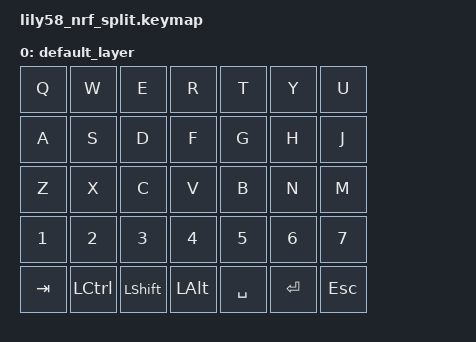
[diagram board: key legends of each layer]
/ {
    keymap {
        compatible = "zmk,keymap";

        default_layer {
            bindings = <
                &kp Q &kp W &kp E &kp R &kp T &kp Y &kp U
                &kp A &kp S &kp D &kp F &kp G &kp H &kp J
                &kp Z &kp X &kp C &kp V &kp B &kp N &kp M
                &kp 1 &kp 2 &kp 3 &kp 4 &kp 5 &kp 6 &kp 7
                &kp TAB &kp LCTRL &kp LSHFT &kp LALT &kp SPACE &kp ENTER &kp ESC
            >;
        };
    };
};
